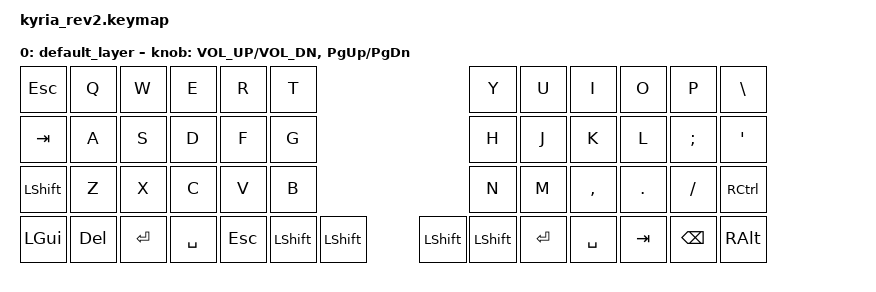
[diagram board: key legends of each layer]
/*
 * Copyright (c) 2020 The ZMK Contributors
 *
 * SPDX-License-Identifier: MIT
 */

#include <behaviors.dtsi>
#include <dt-bindings/zmk/keys.h>

/ {
	keymap {
		compatible = "zmk,keymap";

		default_layer {
// ---------------------------------------------------------------------------------------------------------------------------------
// |  ESC  |  Q  |  W  |  E   |  R   |  T   |                                          |  Y   |  U    |  I    |  O   |   P   |   \  |
// |  TAB  |  A  |  S  |  D   |  F   |  G   |                                          |  H   |  J    |  K    |  L   |   ;   |   '  |
// | SHIFT |  Z  |  X  |  C   |  V   |  B   | L SHIFT | L SHIFT |  | L SHIFT | L SHIFT |  N   |  M    |  ,    |  .   |   /   | CTRL |
//                     | GUI  | DEL  | RET  |  SPACE  |   ESC   |  |   RET   |  SPACE  | TAB  | BSPC  | R-ALT |
			bindings = <
	&kp ESC   &kp Q &kp W &kp E &kp R &kp T                                                &kp Y &kp U  &kp I     &kp O   &kp P    &kp BSLH
	&kp TAB   &kp A &kp S &kp D &kp F &kp G                                                &kp H &kp J  &kp K     &kp L   &kp SEMI &kp SQT
	&kp LSHFT &kp Z &kp X &kp C &kp V &kp B &kp LSHFT &kp LSHFT        &kp LSHFT &kp LSHFT &kp N &kp M  &kp COMMA &kp DOT &kp FSLH &kp RCTRL
	                 &kp LGUI &kp DEL &kp RET &kp SPACE &kp ESC        &kp RET  &kp SPACE  &kp TAB &kp BSPC &kp RALT
			>;

			sensor-bindings = <&inc_dec_kp C_VOL_UP C_VOL_DN &inc_dec_kp PG_UP PG_DN>;
		};
	};
};

/ {
	keymap {
		compatible = "zmk,keymap";

		default_layer {
// ---------------------------------------------------------------------------------------------------------------------------------
// |  TAB  |  Q  |  W  |  E   |  R   |  T   |                                          |  Y   |  U    |  I    |  O   |   P   |   \   |
// |   `   |  A  |  S  |  D   |  F   |  G   |                                          |  H   |  J    |  K    |  L   |   ;   |   '   |
// | SHIFT |  Z  |  X  |  C   |  V   |  B   |                                          |  N   |  M    |  ,    |  .   |   /   | SHIFT |
// |  GUI  | DEL | RET | SPACE| ESC  | L SHIFT | L SHIFT |                | L SHIFT | L SHIFT |  RET  | SPACE | TAB  | BSPC  | R-ALT |
			bindings = <
	&kp ESC   &kp Q &kp W &kp E &kp R &kp T                                                      &kp Y &kp U  &kp I     &kp O   &kp P    &kp BSLH
	&kp TAB   &kp A &kp S &kp D &kp F &kp G                                                      &kp H &kp J  &kp K     &kp L   &kp SEMI &kp SQT
	&kp LSHFT &kp Z &kp X &kp C &kp V &kp B                                                      &kp N &kp M  &kp COMMA &kp DOT &kp FSLH &kp RCTRL
	&kp LGUI  &kp DEL &kp RET &kp SPACE &kp ESC &kp LSHFT &kp LSHFT          &kp LSHFT &kp LSHFT &kp RET  &kp SPACE  &kp TAB &kp BSPC &kp RALT
			>;

			sensor-bindings = <&inc_dec_kp C_VOL_UP C_VOL_DN &inc_dec_kp PG_UP PG_DN>;
		};
	};
};
